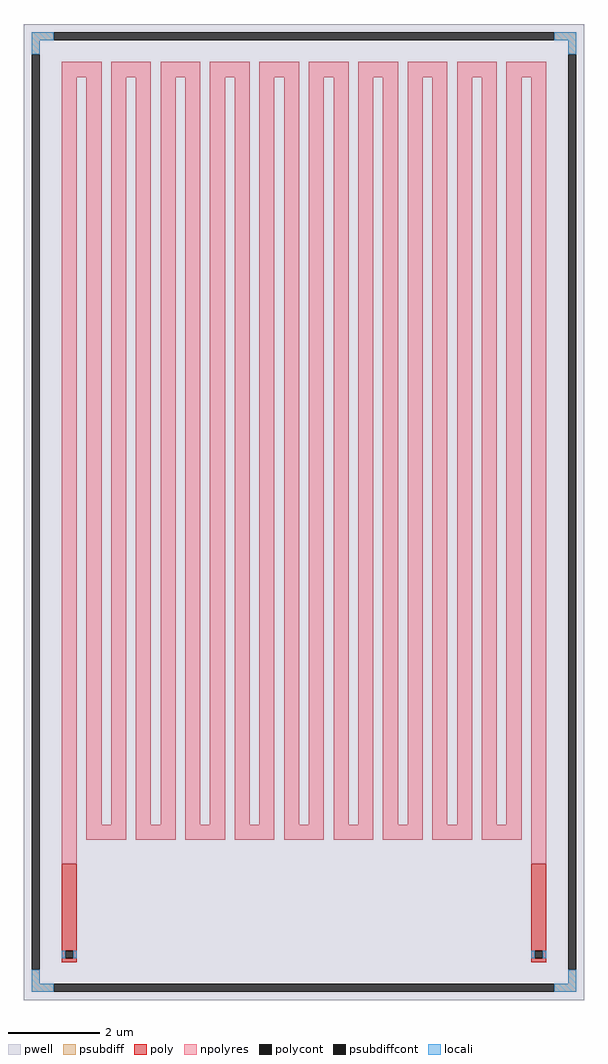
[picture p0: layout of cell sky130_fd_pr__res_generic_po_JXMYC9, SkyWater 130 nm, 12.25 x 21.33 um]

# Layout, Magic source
magic
tech sky130B
magscale 1 2
<< pwell >>
rect -1225 -2133 1225 2133
<< psubdiff >>
rect -1189 2063 -1093 2097
rect 1093 2063 1189 2097
rect -1189 2001 -1155 2063
rect 1155 2001 1189 2063
rect -1189 -2063 -1155 -2001
rect 1155 -2063 1189 -2001
rect -1189 -2097 -1093 -2063
rect 1093 -2097 1189 -2063
<< psubdiffcont >>
rect -1093 2063 1093 2097
rect -1189 -2001 -1155 2001
rect 1155 -2001 1189 2001
rect -1093 -2097 1093 -2063
<< poly >>
rect -1059 -1917 -993 -1537
rect -1059 -1951 -1043 -1917
rect -1009 -1951 -993 -1917
rect -1059 -1967 -993 -1951
rect 993 -1917 1059 -1537
rect 993 -1951 1009 -1917
rect 1043 -1951 1059 -1917
rect 993 -1967 1059 -1951
<< polycont >>
rect -1043 -1951 -1009 -1917
rect 1009 -1951 1043 -1917
<< npolyres >>
rect -1059 1901 -885 1967
rect -1059 -1537 -993 1901
rect -951 -1367 -885 1901
rect -843 1901 -669 1967
rect -843 -1367 -777 1901
rect -951 -1433 -777 -1367
rect -735 -1367 -669 1901
rect -627 1901 -453 1967
rect -627 -1367 -561 1901
rect -735 -1433 -561 -1367
rect -519 -1367 -453 1901
rect -411 1901 -237 1967
rect -411 -1367 -345 1901
rect -519 -1433 -345 -1367
rect -303 -1367 -237 1901
rect -195 1901 -21 1967
rect -195 -1367 -129 1901
rect -303 -1433 -129 -1367
rect -87 -1367 -21 1901
rect 21 1901 195 1967
rect 21 -1367 87 1901
rect -87 -1433 87 -1367
rect 129 -1367 195 1901
rect 237 1901 411 1967
rect 237 -1367 303 1901
rect 129 -1433 303 -1367
rect 345 -1367 411 1901
rect 453 1901 627 1967
rect 453 -1367 519 1901
rect 345 -1433 519 -1367
rect 561 -1367 627 1901
rect 669 1901 843 1967
rect 669 -1367 735 1901
rect 561 -1433 735 -1367
rect 777 -1367 843 1901
rect 885 1901 1059 1967
rect 885 -1367 951 1901
rect 777 -1433 951 -1367
rect 993 -1537 1059 1901
<< locali >>
rect -1189 2063 -1093 2097
rect 1093 2063 1189 2097
rect -1189 2001 -1155 2063
rect 1155 2001 1189 2063
rect -1059 -1951 -1043 -1917
rect -1009 -1951 -993 -1917
rect 993 -1951 1009 -1917
rect 1043 -1951 1059 -1917
rect -1189 -2063 -1155 -2001
rect 1155 -2063 1189 -2001
rect -1189 -2097 -1093 -2063
rect 1093 -2097 1189 -2063
<< properties >>
string FIXED_BBOX -1172 -2080 1172 2080
string gencell sky130_fd_pr__res_generic_po
string library sky130
string parameters w 0.33 l 17 m 1 nx 20 wmin 0.330 lmin 1.650 rho 48.2 val 51.686k dummy 0 dw 0.0 term 0.0 sterm 0.0 caplen 0.4 snake 1 guard 1 glc 1 grc 1 gtc 1 gbc 1 roverlap 0 endcov 100 full_metal 1 hv_guard 0 n_guard 0 vias 1 viagb 0 viagt 0 viagl 0 viagr 0
<< end >>
